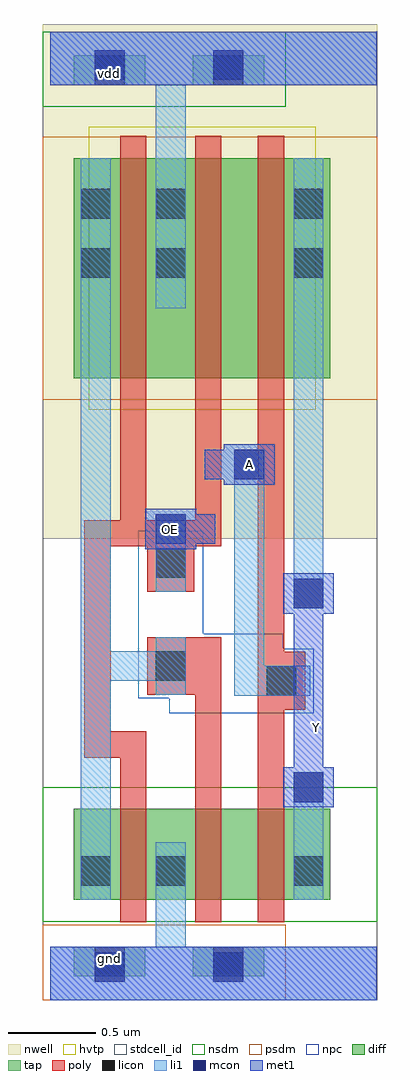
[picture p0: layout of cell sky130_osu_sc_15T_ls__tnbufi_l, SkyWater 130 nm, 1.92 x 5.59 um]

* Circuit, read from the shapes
.subckt sky130_osu_sc_15T_ls__tnbufi_l A OE Y gnd vdd
XM1 gnd OE n1 gnd sky130_fd_pr__nfet_01v8 w=0.52 l=0.15
XM2 n2 n1 gnd gnd sky130_fd_pr__nfet_01v8 w=0.52 l=0.15
XM3 Y A n2 gnd sky130_fd_pr__nfet_01v8 w=0.52 l=0.15
XM4 vdd OE n1 vdd sky130_fd_pr__pfet_01v8_hvt w=1.26 l=0.15
XM5 n3 OE vdd vdd sky130_fd_pr__pfet_01v8_hvt w=1.26 l=0.15
XM6 Y A n3 vdd sky130_fd_pr__pfet_01v8_hvt w=1.26 l=0.15
.ends

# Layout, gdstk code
import gdstk
lib = gdstk.Library(unit=1e-6, precision=1e-09)
def R(c, l, rs):  # rectangles x0, y0, x1, y1
    for r in rs: c.add(gdstk.rectangle(r[:2], r[2:], *l))
nwell = (64, 20)
diff = (65, 20)
tap = (65, 44)
poly = (66, 20)
licon = (66, 44)
li1 = (67, 20)
mcon = (67, 44)
met1 = (68, 20)
hvtp = (78, 44)
stdcell_id = (81, 4)
nsdm = (93, 44)
psdm = (94, 20)
npc = (95, 20)

sky130_osu_sc_15t_ls__tn = lib.new_cell('sky130_osu_sc_15T_ls__tnbufi_l')
R(sky130_osu_sc_15t_ls__tn, nwell, [(-0.045,2.645,1.875,5.595)])
R(sky130_osu_sc_15t_ls__tn, diff, [(0.135,0.575,1.605,1.095), (0.135,3.565,1.605,4.825)])
R(sky130_osu_sc_15t_ls__tn, tap, [(0.135,0.135,0.545,0.305), (0.815,0.135,1.225,0.305), (0.135,5.245,0.545,5.415), (0.815,5.245,1.225,5.415)])
R(sky130_osu_sc_15t_ls__tn, poly, [(0.4,0.445,0.55,1.39), (0.83,0.445,0.98,1.75), (1.19,0.445,1.34,1.665), (0.195,1.39,0.55,1.54), (0.195,1.54,0.345,2.6), (1.19,1.665,1.46,1.995), (0.555,1.75,0.98,2.08), (1.19,1.995,1.34,4.955), (0.555,2.34,0.825,2.6), (0.195,2.6,0.98,2.75), (0.4,2.75,0.55,4.955), (0.83,2.75,0.98,4.955)])
R(sky130_osu_sc_15t_ls__tn, licon, [(0.255,0.135,0.425,0.305), (0.935,0.135,1.105,0.305), (0.175,0.655,0.345,0.825), (0.605,0.655,0.775,0.825), (1.395,0.655,1.565,0.825), (1.24,1.745,1.41,1.915), (0.605,1.83,0.775,2), (0.605,2.42,0.775,2.59), (0.175,4.14,0.345,4.31), (0.605,4.14,0.775,4.31), (1.395,4.14,1.565,4.31), (0.175,4.48,0.345,4.65), (0.605,4.48,0.775,4.65), (1.395,4.48,1.565,4.65), (0.255,5.245,0.425,5.415), (0.935,5.245,1.105,5.415)])
R(sky130_osu_sc_15t_ls__tn, li1, [(0,0,1.87,0.305), (0.605,0.305,0.775,0.905), (0.175,0.575,0.345,1.83), (1.395,0.575,1.565,1.305), (1.055,1.745,1.49,1.915), (0.605,1.75,0.775,1.83), (0.175,1.83,0.775,2), (1.055,1.915,1.225,3.155), (0.175,2,0.345,4.825), (0.605,2,0.775,2.08), (1.395,2.245,1.565,4.825), (0.605,2.34,0.775,2.785), (0.605,3.965,0.775,5.245), (0,5.245,1.87,5.55)])
R(sky130_osu_sc_15t_ls__tn, mcon, [(0.255,0.105,0.425,0.275), (0.935,0.105,1.105,0.275), (1.395,1.135,1.565,1.305), (1.395,2.245,1.565,2.415), (0.605,2.615,0.775,2.785), (1.055,2.985,1.225,3.155), (0.255,5.275,0.425,5.445), (0.935,5.275,1.105,5.445)])
R(sky130_osu_sc_15t_ls__tn, met1, [(0,0,1.87,0.305), (1.335,1.105,1.625,1.335), (1.395,1.335,1.565,2.215), (1.335,2.215,1.625,2.445), (0.545,2.585,0.835,2.615), (0.545,2.615,0.945,2.785), (0.545,2.785,0.835,2.815), (0.995,2.955,1.285,2.985), (0.885,2.985,1.285,3.155), (0.995,3.155,1.285,3.185), (0,5.245,1.87,5.55)])
R(sky130_osu_sc_15t_ls__tn, hvtp, [(0.22,3.385,1.52,5.005)])
R(sky130_osu_sc_15t_ls__tn, stdcell_id, [(-0.045,0,1.875,5.55)])
R(sky130_osu_sc_15t_ls__tn, nsdm, [(-0.045,0.45,1.875,1.22), (-0.045,5.12,1.35,5.55)])
R(sky130_osu_sc_15t_ls__tn, psdm, [(-0.045,0,1.35,0.43), (-0.045,3.44,1.875,4.95)])
R(sky130_osu_sc_15t_ls__tn, npc, [(0.68,1.645,1.51,1.73), (0.505,1.73,1.51,2.015), (0.505,2.015,1.335,2.1), (0.505,2.1,0.875,2.69)])
sky130_osu_sc_15t_ls__tn.add(gdstk.Label('gnd', (0.34,0.24), layer=68, texttype=16))
sky130_osu_sc_15t_ls__tn.add(gdstk.Label('vdd', (0.34,5.31), layer=68, texttype=16))
sky130_osu_sc_15t_ls__tn.add(gdstk.Label('Y', (1.525,1.56), layer=68, texttype=5))
sky130_osu_sc_15t_ls__tn.add(gdstk.Label('A', (1.14,3.07), layer=68, texttype=5))
sky130_osu_sc_15t_ls__tn.add(gdstk.Label('OE', (0.69,2.7), layer=68, texttype=5))

lib.write_gds('sky130_osu_sc_15T_ls__tnbufi_l.gds')
